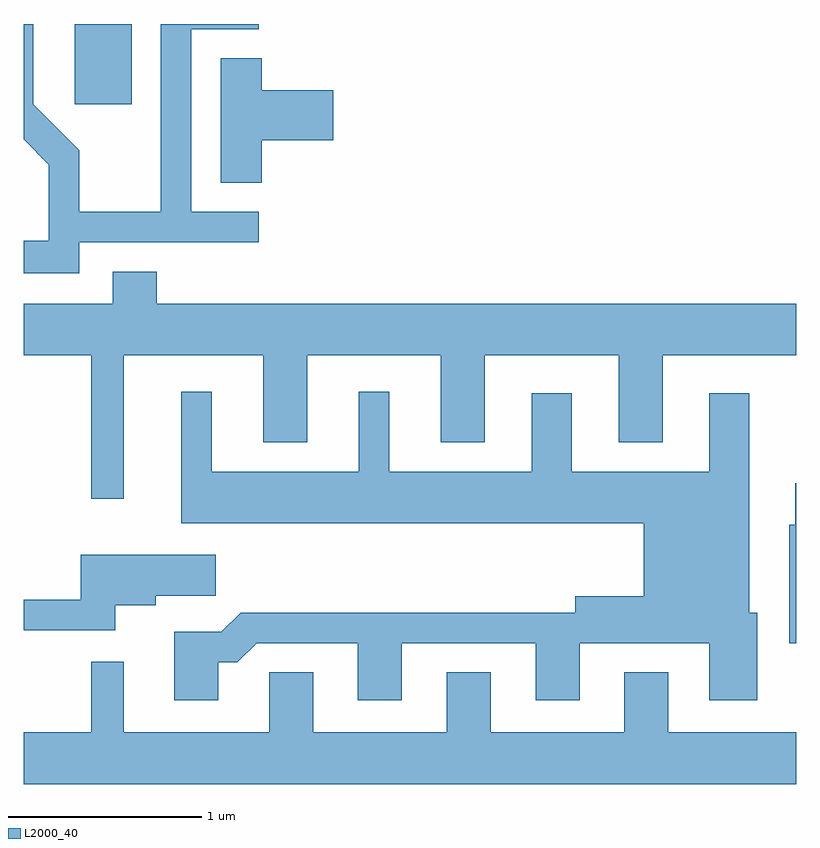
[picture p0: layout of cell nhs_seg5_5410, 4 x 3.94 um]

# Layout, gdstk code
import gdstk
lib = gdstk.Library(unit=1e-6, precision=1e-09)
def R(c, l, rs):  # rectangles x0, y0, x1, y1
    for r in rs: c.add(gdstk.rectangle(r[:2], r[2:], *l))
def P(c, l, *ps):  # polygons
    for p in ps: c.add(gdstk.Polygon(p, *l))
L2000_40 = (2000, 40)

nhs_seg5_5410 = lib.new_cell('nhs_seg5_5410')
R(nhs_seg5_5410, L2000_40, [(345.876,1453.656,346.169,1454.072)])
P(nhs_seg5_5410, L2000_40, [(345.899,1452.941),(346.828,1452.941),(346.828,1453.099),(346.479,1453.099),(346.479,1454.046),(346.828,1454.046),(346.828,1454.072),(346.321,1454.072),(346.321,1453.099),(345.899,1453.099),(345.899,1453.417),(345.659,1453.657),(345.659,1454.072),(345.611,1454.072),(345.611,1453.474),(345.741,1453.344),(345.741,1452.949),(345.611,1452.949),(345.611,1452.781),(345.899,1452.781)],
  [(346.844,1453.471),(347.214,1453.471),(347.214,1453.729),(346.844,1453.729),(346.844,1453.894),(346.631,1453.894),(346.631,1453.251),(346.844,1453.251)],
  [(346.129,1452.356),(346.851,1452.356),(346.851,1451.906),(347.079,1451.906),(347.079,1452.356),(347.771,1452.356),(347.771,1451.906),(347.999,1451.906),(347.999,1452.356),(348.691,1452.356),(348.691,1451.906),(348.919,1451.906),(348.919,1452.356),(349.611,1452.356),(349.611,1452.624),(346.299,1452.624),(346.299,1452.789),(346.071,1452.789),(346.071,1452.624),(345.611,1452.624),(345.611,1452.356),(345.961,1452.356),(345.961,1451.613),(346.129,1451.613)],
  [(346.619,1450.766),(346.717,1450.766),(346.817,1450.866),(347.341,1450.866),(347.341,1450.571),(347.569,1450.571),(347.569,1450.866),(348.261,1450.866),(348.261,1450.571),(348.489,1450.571),(348.489,1450.866),(349.161,1450.866),(349.161,1450.571),(349.409,1450.571),(349.409,1451.024),(349.369,1451.024),(349.369,1452.159),(349.161,1452.159),(349.161,1451.754),(348.449,1451.754),(348.449,1452.159),(348.241,1452.159),(348.241,1451.754),(347.504,1451.754),(347.504,1452.168),(347.346,1452.168),(347.346,1451.754),(346.584,1451.754),(346.584,1452.168),(346.426,1452.168),(346.426,1451.486),(348.821,1451.486),(348.821,1451.109),(348.466,1451.109),(348.466,1451.024),(346.734,1451.024),(346.634,1450.924),(346.391,1450.924),(346.391,1450.571),(346.619,1450.571)],
  [(349.611,1451.694),(349.606,1451.694),(349.606,1451.479),(349.576,1451.479),(349.576,1450.866),(349.611,1450.866)],
  [(346.084,1451.061),(346.294,1451.061),(346.294,1451.111),(346.604,1451.111),(346.604,1451.324),(345.906,1451.324),(345.906,1451.089),(345.611,1451.089),(345.611,1450.931),(346.084,1450.931)],
  [(349.611,1450.404),(348.949,1450.404),(348.949,1450.714),(348.721,1450.714),(348.721,1450.404),(348.029,1450.404),(348.029,1450.714),(347.801,1450.714),(347.801,1450.404),(347.109,1450.404),(347.109,1450.714),(346.881,1450.714),(346.881,1450.404),(346.129,1450.404),(346.129,1450.768),(345.961,1450.768),(345.961,1450.404),(345.611,1450.404),(345.611,1450.136),(349.611,1450.136)])

lib.write_gds('nhs_seg5_5410.gds')
